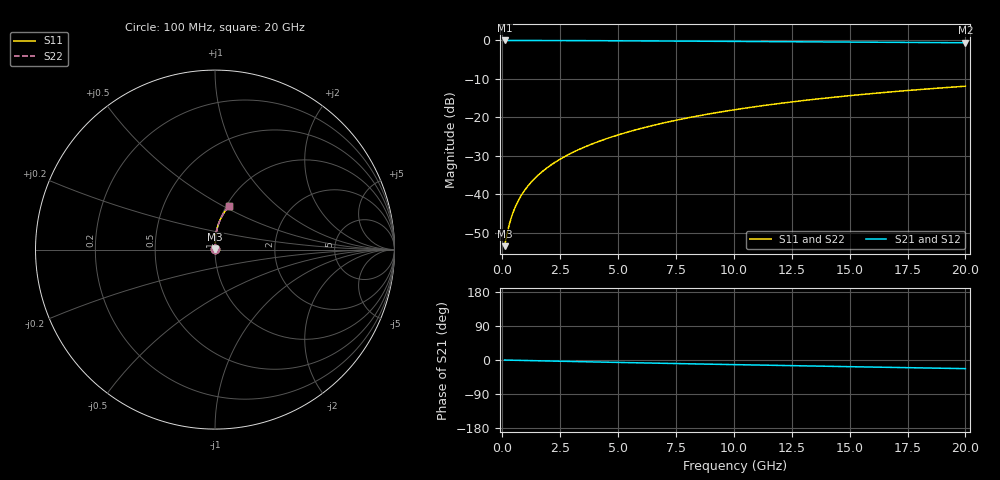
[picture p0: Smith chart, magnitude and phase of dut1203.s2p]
! Touchstone file exported from HFSS 2024.1.0
!  File:  C:/UserFiles/LocalFiles/RDL_TSV_Batchsim/temp_RDL_bottom_1203_1780243383.aedt
!  Generated:  12:05:32 AM Jun  1, 2026
!  Design:  RDL_bottom
!  Project:  temp_RDL_bottom_1203_1780243383
!  Setup:  Setup1
!  Solution:  Sweep
! Variables:
!  dtsv = 10.80580581um
!  hbump = 3um
!  htsv = 70.32um
!  ldown = 269.77um
!  lrdl = 100um
!  p = 40
!  p1 = 56.76um
!  rhole = 1um
!  t = 450um
!  tdown = 2.86um
!  trdl = 3.915915916um
!  wdown = 23.32um
!  wrdl = 20um
# GHz S MA R 50.000000
! Terminal data exported
! Port[1] = RDL1_T1
! Port[2] = RDL1_T2
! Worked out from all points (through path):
!   200 points, 100 MHz to 20 GHz, reference 50 ohm
!   highest |S21| = -0.01 dB at 100 MHz (marker M1); lowest = -0.6 dB at 20 GHz (marker M2)
!   group delay of S21, straight-line fit = 3.14 ps
!   lowest |S11| = -53.6 dB at 100 MHz (marker M3), VSWR 1.00, Z = 50.2 + j0.122 ohm
!   |S11| at or under -10 dB: start of sweep to end of sweep
!   |S22| runs from -53.6 to -11.9 dB; largest |S21 - S12| = 5.1e-15
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0.1  0.002101 35.4  0.9983 -0.1  0.9983 -0.1  0.002101 35.4
! Gamma 0 0 0 0
! Port Impedance 50 0 50 0
0.2  0.002989 53.8  0.9982 -0.3  0.9982 -0.3  0.002989 53.8
0.3  0.004018 62.9  0.9981 -0.4  0.9981 -0.4  0.004018 62.9
0.4  0.005081 68.2  0.998 -0.5  0.998 -0.5  0.005081 68.2
0.5  0.006153 71.6  0.9979 -0.7  0.9979 -0.7  0.006153 71.6
0.6  0.007227 74.1  0.9978 -0.8  0.9978 -0.8  0.007227 74.1
0.8  0.009387 77.5  0.9976 -1.1  0.9976 -1.1  0.009387 77.5
1.1  0.01266 80.7  0.9973 -1.5  0.9973 -1.5  0.01266 80.7
1.3  0.01487 82.1  0.9971 -1.7  0.9971 -1.7  0.01487 82.1
1.6  0.01822 83.7  0.9967 -2.1  0.9967 -2.1  0.01822 83.7
2.1  0.02388 85.3  0.9959 -2.8  0.9959 -2.8  0.02388 85.3
2.7  0.03083 86.5  0.9947 -3.5  0.9947 -3.5  0.03083 86.5
3.5  0.04033 87.4  0.9928 -4.6  0.9928 -4.6  0.04033 87.4
4.2  0.04887 87.7  0.9909 -5.4  0.9909 -5.4  0.04887 87.7
5  0.05887 87.7  0.9884 -6.4  0.9884 -6.4  0.05887 87.7
5.9  0.07039 87.4  0.9854 -7.5  0.9854 -7.5  0.07039 87.4
6.8  0.08214 86.9  0.9823 -8.6  0.9823 -8.6  0.08214 86.9
8.4  0.1034 85.6  0.9765 -10.4  0.9765 -10.4  0.1034 85.6
10.1  0.1262 83.8  0.9703 -12.3  0.9703 -12.3  0.1262 83.8
13.4  0.1701 80.0  0.9579 -15.9  0.9579 -15.9  0.1701 80.0
16.7  0.2127 76.1  0.9452 -19.4  0.9452 -19.4  0.2127 76.1
20  0.2535 72.3  0.932 -22.8  0.932 -22.8  0.2535 72.3
